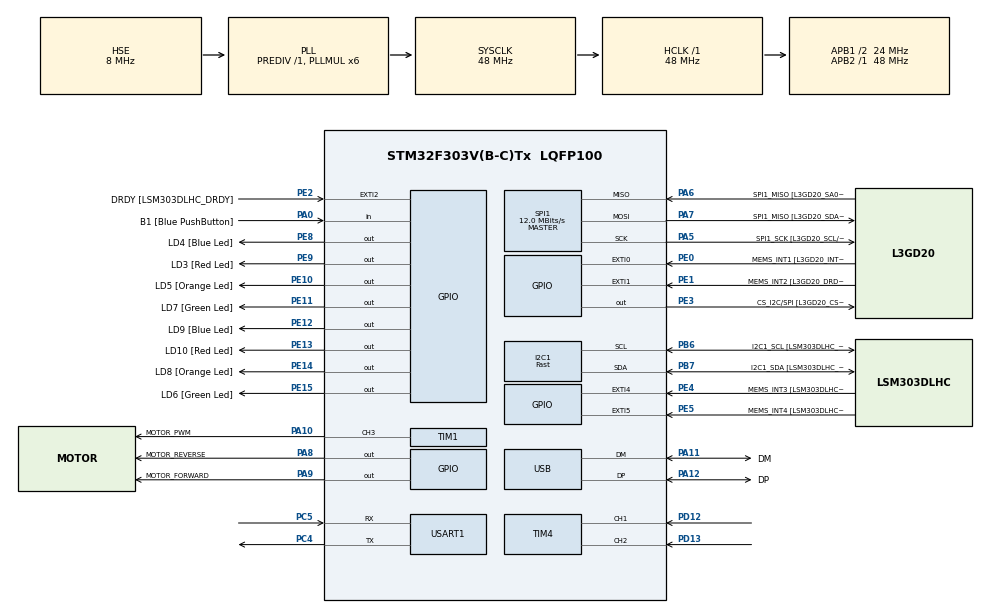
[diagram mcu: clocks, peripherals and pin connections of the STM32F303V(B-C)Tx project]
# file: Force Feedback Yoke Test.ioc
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I2C1.I2C_Speed_Mode=I2C_Fast
I2C1.Timing=0x0000020B
I2C1.Timing-I2C=0x2000090E
Mcu.Family=STM32F3
Mcu.Name=STM32F303V(B-C)Tx
Mcu.Package=LQFP100
NVIC.PriorityGroup=NVIC_PRIORITYGROUP_0
NVIC.TIM4_IRQn=true\:0\:0\:false\:false\:true\:true\:true\:true
NVIC.USB_LP_CAN_RX0_IRQn=true\:0\:0\:false\:false\:true\:false\:true\:true
PA0.GPIO_Label=B1 [Blue PushButton]
PA0.Signal=GPIO_Input
PA10.GPIO_Label=MOTOR_PWM
PA10.Signal=S_TIM1_CH3
PA11.GPIO_Label=DM
PA11.Mode=Device
PA11.Signal=USB_DM
PA12.GPIO_Label=DP
PA12.Mode=Device
PA12.Signal=USB_DP
PA13.GPIO_Label=SWDIO
PA13.Mode=Serial_Wire
PA13.Signal=SYS_JTMS-SWDIO
PA14.GPIO_Label=SWCLK
PA14.Mode=Serial_Wire
PA14.Signal=SYS_JTCK-SWCLK
PA5.GPIO_Label=SPI1_SCK [L3GD20_SCL/SPC]
PA5.Mode=Full_Duplex_Master
PA5.Signal=SPI1_SCK
PA6.GPIO_Label=SPI1_MISO [L3GD20_SA0/SDO]
PA6.Mode=Full_Duplex_Master
PA6.Signal=SPI1_MISO
PA7.GPIO_Label=SPI1_MISO [L3GD20_SDA/SDI/SDO]
PA7.Mode=Full_Duplex_Master
PA7.Signal=SPI1_MOSI
PA8.GPIO_Label=MOTOR_REVERSE
PA8.Signal=GPIO_Output
PA9.GPIO_Label=MOTOR_FORWARD
PA9.Signal=GPIO_Output
PB3.GPIO_Label=SWO
PB3.Signal=SYS_JTDO-TRACESWO
PB6.GPIO_Label=I2C1_SCL [LSM303DLHC_SCL]
PB6.GPIO_Pu=GPIO_PULLUP
PB6.Mode=I2C
PB6.Signal=I2C1_SCL
PB7.GPIO_Label=I2C1_SDA [LSM303DLHC_SDA]
PB7.GPIO_Pu=GPIO_PULLUP
PB7.Mode=I2C
PB7.Signal=I2C1_SDA
PC14-OSC32_IN.GPIO_Label=OSC32_IN
PC14-OSC32_IN.Signal=RCC_OSC32_IN
PC15-OSC32_OUT.GPIO_Label=OSC32_OUT
PC15-OSC32_OUT.Signal=RCC_OSC32_OUT
PC4.Mode=Asynchronous
PC4.Signal=USART1_TX
PC5.Mode=Asynchronous
PC5.Signal=USART1_RX
PD12.Signal=S_TIM4_CH1
PD13.Signal=S_TIM4_CH2
PE0.GPIO_Label=MEMS_INT1 [L3GD20_INT1]
PE0.GPIO_ModeDefaultEXTI=GPIO_MODE_EVT_RISING
PE0.Signal=GPXTI0
PE1.GPIO_Label=MEMS_INT2 [L3GD20_DRDY/INT2]
PE1.GPIO_ModeDefaultEXTI=GPIO_MODE_EVT_RISING
PE1.Signal=GPXTI1
PE10.GPIO_Label=LD5 [Orange Led]
PE10.Signal=GPIO_Output
PE11.GPIO_Label=LD7 [Green Led]
PE11.Signal=GPIO_Output
PE12.GPIO_Label=LD9 [Blue Led]
PE12.Signal=GPIO_Output
PE13.GPIO_Label=LD10 [Red Led]
PE13.Signal=GPIO_Output
PE14.GPIO_Label=LD8 [Orange Led]
PE14.Signal=GPIO_Output
PE15.GPIO_Label=LD6 [Green Led]
PE15.Signal=GPIO_Output
PE2.GPIO_Label=DRDY [LSM303DLHC_DRDY]
PE2.GPIO_ModeDefaultEXTI=GPIO_MODE_EVT_RISING
PE2.Signal=GPXTI2
PE3.GPIO_Label=CS_I2C/SPI [L3GD20_CS_I2C/SPI]
PE3.Signal=GPIO_Output
PE4.GPIO_Label=MEMS_INT3 [LSM303DLHC_INT1]
PE4.GPIO_ModeDefaultEXTI=GPIO_MODE_EVT_RISING
PE4.Signal=GPXTI4
PE5.GPIO_Label=MEMS_INT4 [LSM303DLHC_INT2]
PE5.GPIO_ModeDefaultEXTI=GPIO_MODE_EVT_RISING
PE5.Signal=GPXTI5
PE8.GPIO_Label=LD4 [Blue Led]
PE8.Signal=GPIO_Output
PE9.GPIO_Label=LD3 [Red Led]
PE9.Signal=GPIO_Output
PF0-OSC_IN.GPIO_Label=OSC_IN
PF0-OSC_IN.Mode=HSE-External-Clock-Source
PF0-OSC_IN.Signal=RCC_OSC_IN
PF1-OSC_OUT.GPIO_Label=OSC_OUT
PF1-OSC_OUT.Signal=RCC_OSC_OUT
ProjectManager.HeapSize=0x200
ProjectManager.StackSize=0x400
ProjectManager.TargetToolchain=STM32CubeIDE
RCC.AHBFreq_Value=48000000
RCC.APB1CLKDivider=RCC_HCLK_DIV2
RCC.APB1Freq_Value=24000000
RCC.APB1TimFreq_Value=48000000
RCC.APB2Freq_Value=48000000
RCC.APB2TimFreq_Value=48000000
RCC.CortexFreq_Value=48000000
RCC.HCLKFreq_Value=48000000
RCC.HSE_VALUE=8000000
RCC.HSI_VALUE=8000000
RCC.LSE_VALUE=32768
RCC.PLLMUL=RCC_PLL_MUL6
RCC.SYSCLKFreq_VALUE=48000000
RCC.SYSCLKSourceVirtual=RCC_SYSCLKSOURCE_PLLCLK
RCC.USBFreq_Value=48000000
SH.S_TIM1_CH3.0=TIM1_CH3,PWM Generation3 CH3
SH.S_TIM4_CH1.0=TIM4_CH1,Encoder_Interface
SH.S_TIM4_CH2.0=TIM4_CH2,Encoder_Interface
SPI1.BaudRatePrescaler=SPI_BAUDRATEPRESCALER_4
SPI1.BaudRatePrescaler-Full_Duplex_Master=SPI_BAUDRATEPRESCALER_2
SPI1.CalculateBaudRate=12.0 MBits/s
SPI1.CalculateBaudRate-Full_Duplex_Master=24.0 MBits/s
SPI1.Direction=SPI_DIRECTION_2LINES
SPI1.Mode=SPI_MODE_MASTER
SPI1.Mode-Full_Duplex_Master=SPI_MODE_MASTER
SPI1.VirtualType=VM_MASTER
TIM1.AutoReloadPreload=TIM_AUTORELOAD_PRELOAD_ENABLE
TIM1.Channel-PWM\ Generation3\ CH3=TIM_CHANNEL_3
TIM1.Period=2400-1
TIM4.AutoReloadPreload=TIM_AUTORELOAD_PRELOAD_ENABLE
TIM4.EncoderMode=TIM_ENCODERMODE_TI12
TIM4.IC1Filter=4
TIM4.IC2Filter=4
USART1.VirtualMode-Asynchronous=VM_ASYNC
USB_DEVICE.CLASS_NAME_FS=HID
USB_DEVICE.VirtualMode=Hid
USB_DEVICE.VirtualModeFS=Hid_FS
VP_USB_DEVICE_VS_USB_DEVICE_HID_FS.Mode=HID_FS
board=STM32F3DISCOVERY

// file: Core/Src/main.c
/* USER CODE BEGIN Header */
/**
  ******************************************************************************
  * @file           : main.c
  * @brief          : Main program body
  ******************************************************************************
  * @attention
  *
  * Copyright (c) 2023 STMicroelectronics.
  * All rights reserved.
  *
  * This software is licensed under terms that can be found in the LICENSE file
  * in the root directory of this software component.
  * If no LICENSE file comes with this software, it is provided AS-IS.
  *
  ******************************************************************************
  */
/* USER CODE END Header */
#include "main.h"
#include "usb_device.h"

/* USER CODE BEGIN Includes */
#include "usbd_hid.h"
#include <stdbool.h>
#include <stdio.h>
#include "rotary_encoder.h"
#include "pid.h"
#include "devices/motor.h"
#include "peripherals/gpio.h"
#include "utilities.h"
#include "devices/ina219.h"
#include "force_feedback_controller.h"
/* USER CODE END Includes */

/* USER CODE BEGIN PTD */
#define MOTOR_OFFSET 1300
/* USER CODE END PTD */

I2C_HandleTypeDef hi2c1;

SPI_HandleTypeDef hspi1;

TIM_HandleTypeDef htim1;
TIM_HandleTypeDef htim4;

UART_HandleTypeDef huart1;

/* USER CODE BEGIN PV */
extern USBD_HandleTypeDef hUsbDeviceFS;

typedef struct {
	int8_t joyX;
	int8_t joyY;
	uint8_t joyB1;
} GameHID_t;

RotaryEncoder_t encoder;

Ina219_t currentSense;

PID_t pid;

Motor_t motor;

FFBController_t ffb;

/* USER CODE END PV */

void SystemClock_Config(void);
static void MX_GPIO_Init(void);
static void MX_I2C1_Init(void);
static void MX_SPI1_Init(void);
static void MX_TIM4_Init(void);
static void MX_USART1_UART_Init(void);
static void MX_TIM1_Init(void);

/* USER CODE BEGIN 0 */

#ifdef __GNUC__
#define PUTCHAR_PROTOTYPE int __io_putchar(int ch)
#else
#define PUTCHAR_PROTOTYPE int fputc(int ch, FILE *f)
#endif

PUTCHAR_PROTOTYPE
{
  HAL_UART_Transmit(&huart1, (uint8_t *)&ch, 1, HAL_MAX_DELAY);
  return ch;
}

void HAL_TIM_PeriodElapsedCallback(TIM_HandleTypeDef *htim) {
	if(htim == &htim4) {
		HAL_GPIO_TogglePin(LD10_GPIO_Port, LD10_Pin);
	}
}
/* USER CODE END 0 */

int main(void)
{

  /* MCU Configuration--------------------------------------------------------*/

  /* Reset of all peripherals, Initializes the Flash interface and the Systick. */
  HAL_Init();

  /* Configure the system clock */
  SystemClock_Config();

  /* Initialize all configured peripherals */
  MX_GPIO_Init();
  MX_I2C1_Init();
  MX_SPI1_Init();
  MX_TIM4_Init();
  MX_USART1_UART_Init();
  MX_USB_DEVICE_Init();
  MX_TIM1_Init();
  /* USER CODE BEGIN 2 */
  GameHID_t gameHID = {
		  .joyX = 0,
		  .joyY = 0,
		  .joyB1 = 0
  };

  PIDInit(&pid);
  RotaryEncInit(&encoder);

  HAL_TIM_Encoder_Start(&htim4, TIM_CHANNEL_ALL);

  CurrentSenseInit(&currentSense, &hi2c1);

  GPIO_t gpioMotorReverse = {
		  .port = MOTOR_FORWARD_GPIO_Port,
		  .pin = MOTOR_FORWARD_Pin
  };

  GPIO_t gpioMotorForward = {
		  .port = MOTOR_REVERSE_GPIO_Port,
		  .pin = MOTOR_REVERSE_Pin
  };

  MotorInit(&motor, &htim1, TIM_CHANNEL_3, gpioMotorReverse, gpioMotorForward);
  //MotorSetOffset(&motor, MOTOR_OFFSET);
  MotorStartPWM(&motor);

  FFBInit(&ffb);

  HAL_TIM_Base_Start_IT(&htim1);
  /* USER CODE END 2 */

  /* Infinite loop */
  /* USER CODE BEGIN WHILE */

  uint32_t printfCounter = 0;
  int32_t prevEncCount = 0;
  while (1)
  {
	  RotaryEncUpdate(&encoder, __HAL_TIM_GET_COUNTER(&htim4), 1);
	  int32_t joyYOut = RotaryEncGetCount(&encoder);
	  float speed = (joyYOut - prevEncCount)/0.01;

	 // printf("Count: %d\r\n", (int)__HAL_TIM_GET_COUNTER(&htim4));

//	  if(__HAL_TIM_GET_COUNTER(&htim4) >= 667) {
//		  MotorSetPower(&motor, 0);
//	  }

	  //constrain to 8-bit signed integer
	  //joyYOut = Constrain(joyYOut, -127, 127);

	  //Motor control
	  float motorPower = FFBComputeDamperForce(&ffb, speed);
	  //float motorPower = ComputePID(&pid, 0, joyYOut);
	  //motorPower = 1500;
	  MotorSetPower(&motor, (int32_t)(motorPower));

//	  gameHID.joyY = (int8_t)joyYOut;

	  //USBD_HID_SendReport(&hUsbDeviceFS, (uint8_t *)&gameHID,
		//	  sizeof(gameHID));

//	  printfCounter++;
//	  if(printfCounter == 1) {
//		  printf("Current: %f\r\n", CurrentSenseGetCurrent(&currentSense));
//		  printfCounter = 0;
//	  }

	  prevEncCount = joyYOut;
	  HAL_Delay(10);
    /* USER CODE END WHILE */

  }
}

void SystemClock_Config(void)
{
  RCC_OscInitTypeDef RCC_OscInitStruct = {0};
  RCC_ClkInitTypeDef RCC_ClkInitStruct = {0};
  RCC_PeriphCLKInitTypeDef PeriphClkInit = {0};

  /** Initializes the RCC Oscillators according to the specified parameters
  * in the RCC_OscInitTypeDef structure.
  */
  RCC_OscInitStruct.OscillatorType = RCC_OSCILLATORTYPE_HSI|RCC_OSCILLATORTYPE_HSE;
  RCC_OscInitStruct.HSEState = RCC_HSE_BYPASS;
  RCC_OscInitStruct.HSEPredivValue = RCC_HSE_PREDIV_DIV1;
  RCC_OscInitStruct.HSIState = RCC_HSI_ON;
  RCC_OscInitStruct.HSICalibrationValue = RCC_HSICALIBRATION_DEFAULT;
  RCC_OscInitStruct.PLL.PLLState = RCC_PLL_ON;
  RCC_OscInitStruct.PLL.PLLSource = RCC_PLLSOURCE_HSE;
  RCC_OscInitStruct.PLL.PLLMUL = RCC_PLL_MUL6;
  if (HAL_RCC_OscConfig(&RCC_OscInitStruct) != HAL_OK)
  {
    Error_Handler();
  }

  /** Initializes the CPU, AHB and APB buses clocks
  */
  RCC_ClkInitStruct.ClockType = RCC_CLOCKTYPE_HCLK|RCC_CLOCKTYPE_SYSCLK
                              |RCC_CLOCKTYPE_PCLK1|RCC_CLOCKTYPE_PCLK2;
  RCC_ClkInitStruct.SYSCLKSource = RCC_SYSCLKSOURCE_PLLCLK;
  RCC_ClkInitStruct.AHBCLKDivider = RCC_SYSCLK_DIV1;
  RCC_ClkInitStruct.APB1CLKDivider = RCC_HCLK_DIV2;
  RCC_ClkInitStruct.APB2CLKDivider = RCC_HCLK_DIV1;

  if (HAL_RCC_ClockConfig(&RCC_ClkInitStruct, FLASH_LATENCY_1) != HAL_OK)
  {
    Error_Handler();
  }
  PeriphClkInit.PeriphClockSelection = RCC_PERIPHCLK_USB|RCC_PERIPHCLK_USART1
                              |RCC_PERIPHCLK_I2C1|RCC_PERIPHCLK_TIM1;
  PeriphClkInit.Usart1ClockSelection = RCC_USART1CLKSOURCE_PCLK2;
  PeriphClkInit.I2c1ClockSelection = RCC_I2C1CLKSOURCE_HSI;
  PeriphClkInit.USBClockSelection = RCC_USBCLKSOURCE_PLL;
  PeriphClkInit.Tim1ClockSelection = RCC_TIM1CLK_HCLK;
  if (HAL_RCCEx_PeriphCLKConfig(&PeriphClkInit) != HAL_OK)
  {
    Error_Handler();
  }
}

static void MX_I2C1_Init(void)
{

  hi2c1.Instance = I2C1;
  hi2c1.Init.Timing = 0x0000020B;
  hi2c1.Init.OwnAddress1 = 0;
  hi2c1.Init.AddressingMode = I2C_ADDRESSINGMODE_7BIT;
  hi2c1.Init.DualAddressMode = I2C_DUALADDRESS_DISABLE;
  hi2c1.Init.OwnAddress2 = 0;
  hi2c1.Init.OwnAddress2Masks = I2C_OA2_NOMASK;
  hi2c1.Init.GeneralCallMode = I2C_GENERALCALL_DISABLE;
  hi2c1.Init.NoStretchMode = I2C_NOSTRETCH_DISABLE;
  if (HAL_I2C_Init(&hi2c1) != HAL_OK)
  {
    Error_Handler();
  }

  /** Configure Analogue filter
  */
  if (HAL_I2CEx_ConfigAnalogFilter(&hi2c1, I2C_ANALOGFILTER_ENABLE) != HAL_OK)
  {
    Error_Handler();
  }

  /** Configure Digital filter
  */
  if (HAL_I2CEx_ConfigDigitalFilter(&hi2c1, 0) != HAL_OK)
  {
    Error_Handler();
  }

}

static void MX_SPI1_Init(void)
{

  /* SPI1 parameter configuration*/
  hspi1.Instance = SPI1;
  hspi1.Init.Mode = SPI_MODE_MASTER;
  hspi1.Init.Direction = SPI_DIRECTION_2LINES;
  hspi1.Init.DataSize = SPI_DATASIZE_4BIT;
  hspi1.Init.CLKPolarity = SPI_POLARITY_LOW;
  hspi1.Init.CLKPhase = SPI_PHASE_1EDGE;
  hspi1.Init.NSS = SPI_NSS_SOFT;
  hspi1.Init.BaudRatePrescaler = SPI_BAUDRATEPRESCALER_4;
  hspi1.Init.FirstBit = SPI_FIRSTBIT_MSB;
  hspi1.Init.TIMode = SPI_TIMODE_DISABLE;
  hspi1.Init.CRCCalculation = SPI_CRCCALCULATION_DISABLE;
  hspi1.Init.CRCPolynomial = 7;
  hspi1.Init.CRCLength = SPI_CRC_LENGTH_DATASIZE;
  hspi1.Init.NSSPMode = SPI_NSS_PULSE_ENABLE;
  if (HAL_SPI_Init(&hspi1) != HAL_OK)
  {
    Error_Handler();
  }

}

static void MX_TIM1_Init(void)
{

  TIM_MasterConfigTypeDef sMasterConfig = {0};
  TIM_OC_InitTypeDef sConfigOC = {0};
  TIM_BreakDeadTimeConfigTypeDef sBreakDeadTimeConfig = {0};

  htim1.Instance = TIM1;
  htim1.Init.Prescaler = 0;
  htim1.Init.CounterMode = TIM_COUNTERMODE_UP;
  htim1.Init.Period = 2400-1;
  htim1.Init.ClockDivision = TIM_CLOCKDIVISION_DIV1;
  htim1.Init.RepetitionCounter = 0;
  htim1.Init.AutoReloadPreload = TIM_AUTORELOAD_PRELOAD_ENABLE;
  if (HAL_TIM_PWM_Init(&htim1) != HAL_OK)
  {
    Error_Handler();
  }
  sMasterConfig.MasterOutputTrigger = TIM_TRGO_RESET;
  sMasterConfig.MasterOutputTrigger2 = TIM_TRGO2_RESET;
  sMasterConfig.MasterSlaveMode = TIM_MASTERSLAVEMODE_DISABLE;
  if (HAL_TIMEx_MasterConfigSynchronization(&htim1, &sMasterConfig) != HAL_OK)
  {
    Error_Handler();
  }
  sConfigOC.OCMode = TIM_OCMODE_PWM1;
  sConfigOC.Pulse = 0;
  sConfigOC.OCPolarity = TIM_OCPOLARITY_HIGH;
  sConfigOC.OCNPolarity = TIM_OCNPOLARITY_HIGH;
  sConfigOC.OCFastMode = TIM_OCFAST_DISABLE;
  sConfigOC.OCIdleState = TIM_OCIDLESTATE_RESET;
  sConfigOC.OCNIdleState = TIM_OCNIDLESTATE_RESET;
  if (HAL_TIM_PWM_ConfigChannel(&htim1, &sConfigOC, TIM_CHANNEL_3) != HAL_OK)
  {
    Error_Handler();
  }
  sBreakDeadTimeConfig.OffStateRunMode = TIM_OSSR_DISABLE;
  sBreakDeadTimeConfig.OffStateIDLEMode = TIM_OSSI_DISABLE;
  sBreakDeadTimeConfig.LockLevel = TIM_LOCKLEVEL_OFF;
  sBreakDeadTimeConfig.DeadTime = 0;
  sBreakDeadTimeConfig.BreakState = TIM_BREAK_DISABLE;
  sBreakDeadTimeConfig.BreakPolarity = TIM_BREAKPOLARITY_HIGH;
  sBreakDeadTimeConfig.BreakFilter = 0;
  sBreakDeadTimeConfig.Break2State = TIM_BREAK2_DISABLE;
  sBreakDeadTimeConfig.Break2Polarity = TIM_BREAK2POLARITY_HIGH;
  sBreakDeadTimeConfig.Break2Filter = 0;
  sBreakDeadTimeConfig.AutomaticOutput = TIM_AUTOMATICOUTPUT_DISABLE;
  if (HAL_TIMEx_ConfigBreakDeadTime(&htim1, &sBreakDeadTimeConfig) != HAL_OK)
  {
    Error_Handler();
  }
  HAL_TIM_MspPostInit(&htim1);

}

static void MX_TIM4_Init(void)
{

  TIM_Encoder_InitTypeDef sConfig = {0};
  TIM_MasterConfigTypeDef sMasterConfig = {0};

  htim4.Instance = TIM4;
  htim4.Init.Prescaler = 0;
  htim4.Init.CounterMode = TIM_COUNTERMODE_UP;
  htim4.Init.Period = 65535;
  htim4.Init.ClockDivision = TIM_CLOCKDIVISION_DIV1;
  htim4.Init.AutoReloadPreload = TIM_AUTORELOAD_PRELOAD_ENABLE;
  sConfig.EncoderMode = TIM_ENCODERMODE_TI12;
  sConfig.IC1Polarity = TIM_ICPOLARITY_RISING;
  sConfig.IC1Selection = TIM_ICSELECTION_DIRECTTI;
  sConfig.IC1Prescaler = TIM_ICPSC_DIV1;
  sConfig.IC1Filter = 4;
  sConfig.IC2Polarity = TIM_ICPOLARITY_RISING;
  sConfig.IC2Selection = TIM_ICSELECTION_DIRECTTI;
  sConfig.IC2Prescaler = TIM_ICPSC_DIV1;
  sConfig.IC2Filter = 4;
  if (HAL_TIM_Encoder_Init(&htim4, &sConfig) != HAL_OK)
  {
    Error_Handler();
  }
  sMasterConfig.MasterOutputTrigger = TIM_TRGO_RESET;
  sMasterConfig.MasterSlaveMode = TIM_MASTERSLAVEMODE_DISABLE;
  if (HAL_TIMEx_MasterConfigSynchronization(&htim4, &sMasterConfig) != HAL_OK)
  {
    Error_Handler();
  }

}

static void MX_USART1_UART_Init(void)
{

  huart1.Instance = USART1;
  huart1.Init.BaudRate = 38400;
  huart1.Init.WordLength = UART_WORDLENGTH_8B;
  huart1.Init.StopBits = UART_STOPBITS_1;
  huart1.Init.Parity = UART_PARITY_NONE;
  huart1.Init.Mode = UART_MODE_TX_RX;
  huart1.Init.HwFlowCtl = UART_HWCONTROL_NONE;
  huart1.Init.OverSampling = UART_OVERSAMPLING_16;
  huart1.Init.OneBitSampling = UART_ONE_BIT_SAMPLE_DISABLE;
  huart1.AdvancedInit.AdvFeatureInit = UART_ADVFEATURE_NO_INIT;
  if (HAL_UART_Init(&huart1) != HAL_OK)
  {
    Error_Handler();
  }

}

static void MX_GPIO_Init(void)
{
  GPIO_InitTypeDef GPIO_InitStruct = {0};

  /* GPIO Ports Clock Enable */
  __HAL_RCC_GPIOE_CLK_ENABLE();
  __HAL_RCC_GPIOC_CLK_ENABLE();
  __HAL_RCC_GPIOF_CLK_ENABLE();
  __HAL_RCC_GPIOA_CLK_ENABLE();
  __HAL_RCC_GPIOD_CLK_ENABLE();
  __HAL_RCC_GPIOB_CLK_ENABLE();

  /*Configure GPIO pin Output Level */
  HAL_GPIO_WritePin(GPIOE, CS_I2C_SPI_Pin|LD4_Pin|LD3_Pin|LD5_Pin
                          |LD7_Pin|LD9_Pin|LD10_Pin|LD8_Pin
                          |LD6_Pin, GPIO_PIN_RESET);

  /*Configure GPIO pin Output Level */
  HAL_GPIO_WritePin(GPIOA, MOTOR_REVERSE_Pin|MOTOR_FORWARD_Pin, GPIO_PIN_RESET);

  /*Configure GPIO pins : DRDY_Pin MEMS_INT3_Pin MEMS_INT4_Pin MEMS_INT1_Pin
                           MEMS_INT2_Pin */
  GPIO_InitStruct.Pin = DRDY_Pin|MEMS_INT3_Pin|MEMS_INT4_Pin|MEMS_INT1_Pin
                          |MEMS_INT2_Pin;
  GPIO_InitStruct.Mode = GPIO_MODE_EVT_RISING;
  GPIO_InitStruct.Pull = GPIO_NOPULL;
  HAL_GPIO_Init(GPIOE, &GPIO_InitStruct);

  /*Configure GPIO pins : CS_I2C_SPI_Pin LD4_Pin LD3_Pin LD5_Pin
                           LD7_Pin LD9_Pin LD10_Pin LD8_Pin
                           LD6_Pin */
  GPIO_InitStruct.Pin = CS_I2C_SPI_Pin|LD4_Pin|LD3_Pin|LD5_Pin
                          |LD7_Pin|LD9_Pin|LD10_Pin|LD8_Pin
                          |LD6_Pin;
  GPIO_InitStruct.Mode = GPIO_MODE_OUTPUT_PP;
  GPIO_InitStruct.Pull = GPIO_NOPULL;
  GPIO_InitStruct.Speed = GPIO_SPEED_FREQ_LOW;
  HAL_GPIO_Init(GPIOE, &GPIO_InitStruct);

  /*Configure GPIO pin : B1_Pin */
  GPIO_InitStruct.Pin = B1_Pin;
  GPIO_InitStruct.Mode = GPIO_MODE_INPUT;
  GPIO_InitStruct.Pull = GPIO_NOPULL;
  HAL_GPIO_Init(B1_GPIO_Port, &GPIO_InitStruct);

  /*Configure GPIO pins : MOTOR_REVERSE_Pin MOTOR_FORWARD_Pin */
  GPIO_InitStruct.Pin = MOTOR_REVERSE_Pin|MOTOR_FORWARD_Pin;
  GPIO_InitStruct.Mode = GPIO_MODE_OUTPUT_PP;
  GPIO_InitStruct.Pull = GPIO_NOPULL;
  GPIO_InitStruct.Speed = GPIO_SPEED_FREQ_LOW;
  HAL_GPIO_Init(GPIOA, &GPIO_InitStruct);

}

void Error_Handler(void)
{
  __disable_irq();
  while (1)
  {
  }
}
